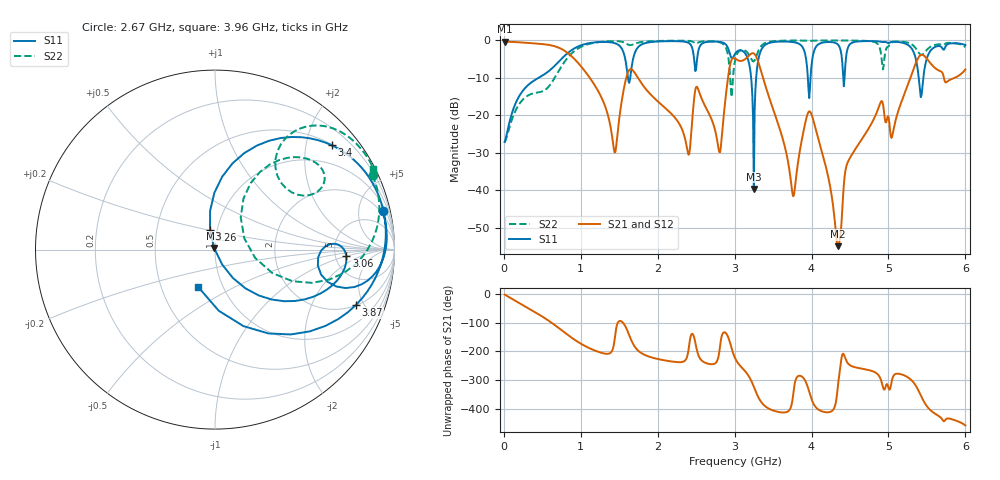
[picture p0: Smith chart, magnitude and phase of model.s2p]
! G_pp200: cavity model (double cosine series), 1 ohm
# Hz S RI R 1
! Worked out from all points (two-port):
!   600 points, 10 MHz to 6 GHz, reference 1 ohm
!   highest |S21| = -0.38 dB at 10 MHz (marker M1); lowest = -54.9 dB at 4.34 GHz (marker M2)
!   |S21| within 3 dB of the highest: start of sweep to 829.7 MHz
!   lowest |S11| = -39.7 dB at 3.25 GHz (marker M3), VSWR 1.02, Z = 0.99 + j0.0181 ohm
!   |S11| at or under -10 dB: start of sweep to 452.9 MHz; 3.214 GHz to 3.28 GHz (65.6 MHz wide, 2.02 % of centre); 5.393 GHz to 5.454 GHz (60.57 MHz wide, 1.12 % of centre)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
!   |S22| runs from -27.2 to 0.0 dB; largest |S21 - S12| = 0
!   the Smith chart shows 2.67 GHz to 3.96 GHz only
!   S11 on the Smith chart (normalised r, x): 2.67 GHz: 1.67, +8.56; 3.06 GHz: 6.31, -1.01; 3.26 GHz: 0.92, +0.21; 3.4 GHz: 0.52, +2.52; 3.87 GHz: 2.04, -4.37; 3.96 GHz: 0.76, -0.33
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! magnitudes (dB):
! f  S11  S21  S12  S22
! 10 MHz  -27.1  -0.4  -0.4  -27.2
! 1.01 GHz  -1.3  -7.1  -7.1  -1.7
! 1.44 GHz  -0.8  -30.0  -30.0  -0.2
! 1.64 GHz  -10.4  -7.7  -7.7  -1.3
! 2.01 GHz  -0.3  -16.5  -16.5  -0.2
! 2.39 GHz  -0.6  -29.7  -29.7  -0.1
! 2.67 GHz  -0.4  -19.7  -19.7  -0.3
! 2.81 GHz  -0.4  -29.9  -29.9  -0.6
! 3.01 GHz  -3.5  -4.9  -4.9  -5.0
! 3.06 GHz  -2.7  -5.5  -5.5  -2.9
! 3.25 GHz  -39.7  -3.5  -3.5  -5.6
! 3.26 GHz  -18.8  -3.7  -3.7  -5.4
! 3.4 GHz  -1.2  -12.1  -12.1  -0.7
! 3.76 GHz  -0.5  -41.6  -41.6  -0.1
! 3.87 GHz  -1.5  -26.9  -26.9  -0.1
! 3.96 GHz  -12.9  -19.2  -19.2  -0.1
! 4.01 GHz  -5.0  -20.4  -20.4  -0.1
! 4.34 GHz  -1.1  -54.9  -54.9  0.0
! 4.48 GHz  -1.6  -32.1  -32.1  -0.1
! 5.01 GHz  -0.7  -21.8  -21.8  -1.4
! 5.41 GHz  -13.6  -4.1  -4.1  -3.7
! 6 GHz  -1.3  -7.8  -7.8  -1.8
